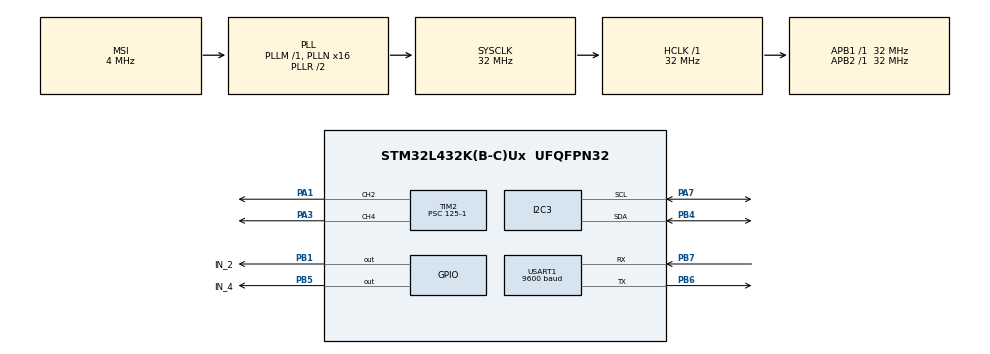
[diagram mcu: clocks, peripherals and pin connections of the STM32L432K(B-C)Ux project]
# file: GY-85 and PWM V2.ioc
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I2C3.Timing=0x00707CBB
Mcu.Family=STM32L4
Mcu.Name=STM32L432K(B-C)Ux
Mcu.Package=UFQFPN32
NVIC.PriorityGroup=NVIC_PRIORITYGROUP_4
NVIC.TIM2_IRQn=true\:0\:0\:false\:false\:true\:true\:true
NVIC.USART1_IRQn=true\:0\:0\:false\:false\:true\:true\:true
PA1.Signal=S_TIM2_CH2
PA13\ (JTMS-SWDIO).Mode=Serial_Wire
PA13\ (JTMS-SWDIO).Signal=SYS_JTMS-SWDIO
PA14\ (JTCK-SWCLK).Mode=Serial_Wire
PA14\ (JTCK-SWCLK).Signal=SYS_JTCK-SWCLK
PA3.Signal=S_TIM2_CH4
PA7.Mode=I2C
PA7.Signal=I2C3_SCL
PB1.GPIO_Label=IN_2
PB1.Signal=GPIO_Output
PB4\ (NJTRST).Mode=I2C
PB4\ (NJTRST).Signal=I2C3_SDA
PB5.GPIO_Label=IN_4
PB5.Signal=GPIO_Output
PB6.Mode=Asynchronous
PB6.Signal=USART1_TX
PB7.Mode=Asynchronous
PB7.Signal=USART1_RX
PC14-OSC32_IN\ (PC14).Mode=LSE-External-Oscillator
PC14-OSC32_IN\ (PC14).Signal=RCC_OSC32_IN
PC15-OSC32_OUT\ (PC15).Mode=LSE-External-Oscillator
PC15-OSC32_OUT\ (PC15).Signal=RCC_OSC32_OUT
ProjectManager.HeapSize=0x200
ProjectManager.StackSize=0x400
ProjectManager.TargetToolchain=EWARM V8
RCC.AHBFreq_Value=32000000
RCC.APB1Freq_Value=32000000
RCC.APB1TimFreq_Value=32000000
RCC.APB2Freq_Value=32000000
RCC.APB2TimFreq_Value=32000000
RCC.CortexFreq_Value=32000000
RCC.HCLKFreq_Value=32000000
RCC.HSE_VALUE=8000000
RCC.HSI16_VALUE=16000000
RCC.HSI48_VALUE=48000000
RCC.HSI_VALUE=16000000
RCC.MSI_VALUE=4000000
RCC.PLLMUL=RCC_PLLMUL_4
RCC.PLLN=16
RCC.SYSCLKFreq_VALUE=32000000
RCC.SYSCLKSource=RCC_SYSCLKSOURCE_PLLCLK
RCC.VCOOutputFreq_Value=64000000
SH.S_TIM2_CH2.0=TIM2_CH2,PWM Generation2 CH2
SH.S_TIM2_CH4.0=TIM2_CH4,PWM Generation4 CH4
TIM2.Channel-PWM\ Generation2\ CH2=TIM_CHANNEL_2
TIM2.Channel-PWM\ Generation4\ CH4=TIM_CHANNEL_4
TIM2.Period=255
TIM2.Prescaler=125-1
USART1.BaudRate=9600
USART1.VirtualMode-Asynchronous=VM_ASYNC
VP_TIM2_VS_ClockSourceINT.Mode=Internal
board=NUCLEO-L432KC

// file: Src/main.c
/* USER CODE BEGIN Header */
/**
 ******************************************************************************
 * @file           : main.c
 * @brief          : Main program body
 ******************************************************************************
 * @attention
 *
 * <h2><center>&copy; Copyright (c) 2019 STMicroelectronics.
 * All rights reserved.</center></h2>
 *
 * This software component is licensed by ST under BSD 3-Clause license,
 * the "License"; You may not use this file except in compliance with the
 * License. You may obtain a copy of the License at:
 *                        opensource.org/licenses/BSD-3-Clause
 *
 ******************************************************************************
 */
/* USER CODE END Header */

#include "main.h"

/* USER CODE BEGIN Includes */
#include "ITG3205.h"
#include <QMC5883L.h>
#include "calculation.h"
#include <stdio.h>
/* USER CODE END Includes */

I2C_HandleTypeDef hi2c3;

TIM_HandleTypeDef htim2;

UART_HandleTypeDef huart1;

/* USER CODE BEGIN PV */
/*??????????????? ?????????? ****************************************************************************** */
float calibDataGyro[3]; /*?????? ??????????????? ?????? ?????????: ??????? ???????? ? ????/???*/ /*?????? ????? ?????? ????????? */
float calibDataMagnet[3]; /*?????? ??????????????? ?????? ????????????: ????????? ???????? ? ????? ????? */
char transmitMagnet[150]; /*?????? ?????? ???????????? ?? ???????? ?? UART*/
float currentAngle;		 /*??????? ????*/
int pinStatus = 0;		 /*?????? ???????? ????? ??? ??? */
int pinStatusX = 2, pinStatusY = 2; /*?????? ???????? ????? ??? ??? */
int uartCount = 0;
//float koeff = 321037;	/*??????????? ??????? ??????? ????????, ????? ?????????? ????????*/
//const float _koeff = 10000;
float gyroCalibZ = 0;
float voltageX = 0, voltageY = 0;
float magnetMedianX = 0;
float magnetMedianY = 0;
float magnetMedianZ = 0;

uint8_t PWM_PA3 = 240; /*?????????? ?? ????????? ??? ?? PA3 */
uint8_t PWM_PA1 = 240; /*?????????? ?? ????????? ??? ?? PA1 */
/* USER CODE END PV */

void SystemClock_Config(void);
static void MX_GPIO_Init(void);
static void MX_TIM2_Init(void);
static void MX_I2C3_Init(void);
static void MX_USART1_UART_Init(void);

int main(void) {

	/* MCU Configuration--------------------------------------------------------*/

	/* Reset of all peripherals, Initializes the Flash interface and the Systick. */
	HAL_Init();

	/* Configure the system clock */
	SystemClock_Config();

	/* Initialize all configured peripherals */
	MX_GPIO_Init();
	MX_TIM2_Init();
	MX_I2C3_Init();
	MX_USART1_UART_Init();
	I2Cdev_init(&hi2c3);
        HAL_Delay(3000);
	QMC5883L_init();
	initGyro();
	/* USER CODE BEGIN 2 */
	/*???????? ??? **********************************************************************************************/
	HAL_TIM_PWM_Start(&htim2, TIM_CHANNEL_2);
	HAL_TIM_PWM_Start(&htim2, TIM_CHANNEL_4);
	HAL_GPIO_WritePin(GPIOB, IN_4_Pin | IN_2_Pin, GPIO_PIN_RESET);
	/* USER CODE END 2 */
	/*???????? ??????????????? ?????? ? ????????? ? ?????????? ???????? ??????? ???????? ? ??????????????? ??????*/
	getGyroscopeData(calibDataGyro);
	/*???????? ??????????????? ?????? ? ???????????? ? ?????????? ???????? ???? ? µT ? ??????????????? ?????? * */
	QMC5883L_read(calibDataMagnet);
	/*???????????? "???????" ???? ???????? ************************************************************************/
	currentAngle = ((atan2(-calibDataMagnet[1], calibDataMagnet[0])) * 180) / PI;
	/* Infinite loop */
	/* USER CODE BEGIN WHILE */
	while (1) {
		float testMagnet[3] = {-0.0005, 0.0, 0.0};
		float testGyro = 20.0;
		float testAngle = 0;
		getVoltage(gyroCalibZ * PI / 180, calibDataMagnet, currentAngle*PI/180, &voltageX, &voltageY);
		//TEST
                //getVoltage(testGyro * PI / 180, testMagnet, testAngle, &voltageX, &voltageY);
		scaleVoltage(&voltageX, &voltageY);

		getPWM(voltageX, &pinStatusX, &PWM_PA1);
		// PWM_PA1 = m_axis(_koeff, gyroCalibZ * PI / 180, -calibDataMagnet[1] / 1000000, &pinStatusX); // Axis X  ORIG
		if (pinStatusX == 0) {
			HAL_GPIO_WritePin(GPIOB, IN_4_Pin, GPIO_PIN_RESET);
		} else {
			HAL_GPIO_WritePin(GPIOB, IN_4_Pin, GPIO_PIN_SET);
		}
		htim2.Instance->CCR2 = PWM_PA1;

		getPWM(voltageY, &pinStatusY, &PWM_PA3);
		if (pinStatusY == 0) {
			HAL_GPIO_WritePin(GPIOB, IN_2_Pin, GPIO_PIN_RESET);
		} else {
			HAL_GPIO_WritePin(GPIOB, IN_2_Pin, GPIO_PIN_SET);
		}
		htim2.Instance->CCR4 = PWM_PA3;
                //********************************************************************
                //UART telemetry sending code
                uartCount++;
		if (uartCount > 4) {
			//sprintf(transmitMagnet, "GG m_X = %0.2f   m_Y = %0.2f  angle = %0.2f speed = %0.2f\r\n", calibDataMagnet[0]*1000000 , calibDataMagnet[1]*1000000, currentAngle, gyroCalibZ * PI / 180.0);
			sprintf(transmitMagnet, "Gu dirX = %i  dirY = %i PA1 = %d  PA3 = %d  m_X = %0.2f   m_Y = %0.2f  speed = %0.2f angle = %0.2f \r\n", pinStatusX, pinStatusY, PWM_PA1, PWM_PA3, calibDataMagnet[0] * 1000000, calibDataMagnet[1] * 1000000, gyroCalibZ * PI / 180.0, currentAngle);
                        HAL_UART_Transmit_IT(&huart1, transmitMagnet, 150);
			uartCount = 0;
                        HAL_Delay(10);
		}

		/*?????????? ??????? ************************************************** */
		HAL_Delay(100);
		PWM_PA1 = 0;
		PWM_PA3 = 0;
		htim2.Instance->CCR4 = PWM_PA1;
		htim2.Instance->CCR2 = PWM_PA3;
                HAL_GPIO_WritePin(GPIOB, IN_2_Pin, GPIO_PIN_RESET);
                HAL_GPIO_WritePin(GPIOB, IN_4_Pin, GPIO_PIN_RESET);
                HAL_Delay(30);
		/*???????????? "???????" ???? ???????? ************************************************************************/
		//Magnetometer averaging
                magnetMedianX = 0;
                magnetMedianY = 0;
                magnetMedianZ = 0;
                for (int i = 0; i < 3; i++) {
			QMC5883L_read(calibDataMagnet);
			magnetMedianY += calibDataMagnet[0];
                        magnetMedianX += calibDataMagnet[1];
                        magnetMedianZ += calibDataMagnet[2];
		}
                calibDataMagnet[0] = (magnetMedianY / 3.0)*1e-6;
		calibDataMagnet[1] = (magnetMedianX / 3.0)*1e-6;
		calibDataMagnet[2] = (magnetMedianY / 3.0)*1e-6;
                //**************************************************
                //Gyro averaging
                gyroCalibZ = 0.0;
                for (int i = 0; i < 3; i++) {
			getGyroscopeData(calibDataGyro);
			gyroCalibZ += calibDataGyro[2];
		}
		gyroCalibZ /= 3;
                if (gyroCalibZ > 6){
             //     resetGyroscope();
               //   initGyro();
                }
                currentAngle = ((atan2(-calibDataMagnet[1], calibDataMagnet[0])) * 180) / PI;
	}
	/* USER CODE END 3 */
}

void SystemClock_Config(void) {
	RCC_OscInitTypeDef RCC_OscInitStruct = {0};
	RCC_ClkInitTypeDef RCC_ClkInitStruct = {0};
	RCC_PeriphCLKInitTypeDef PeriphClkInit = {0};

	/** Configure LSE Drive Capability
	 */
	HAL_PWR_EnableBkUpAccess();
	__HAL_RCC_LSEDRIVE_CONFIG(RCC_LSEDRIVE_LOW);
	/** Initializes the CPU, AHB and APB busses clocks
	 */
	RCC_OscInitStruct.OscillatorType = RCC_OSCILLATORTYPE_LSE | RCC_OSCILLATORTYPE_MSI;
	RCC_OscInitStruct.LSEState = RCC_LSE_ON;
	RCC_OscInitStruct.MSIState = RCC_MSI_ON;
	RCC_OscInitStruct.MSICalibrationValue = 0;
	RCC_OscInitStruct.MSIClockRange = RCC_MSIRANGE_6;
	RCC_OscInitStruct.PLL.PLLState = RCC_PLL_ON;
	RCC_OscInitStruct.PLL.PLLSource = RCC_PLLSOURCE_MSI;
	RCC_OscInitStruct.PLL.PLLM = 1;
	RCC_OscInitStruct.PLL.PLLN = 16;
	RCC_OscInitStruct.PLL.PLLP = RCC_PLLP_DIV7;
	RCC_OscInitStruct.PLL.PLLQ = RCC_PLLQ_DIV2;
	RCC_OscInitStruct.PLL.PLLR = RCC_PLLR_DIV2;
	if (HAL_RCC_OscConfig(&RCC_OscInitStruct) != HAL_OK) {
		Error_Handler();
	}
	/** Initializes the CPU, AHB and APB busses clocks
	 */
	RCC_ClkInitStruct.ClockType = RCC_CLOCKTYPE_HCLK | RCC_CLOCKTYPE_SYSCLK | RCC_CLOCKTYPE_PCLK1 | RCC_CLOCKTYPE_PCLK2;
	RCC_ClkInitStruct.SYSCLKSource = RCC_SYSCLKSOURCE_PLLCLK;
	RCC_ClkInitStruct.AHBCLKDivider = RCC_SYSCLK_DIV1;
	RCC_ClkInitStruct.APB1CLKDivider = RCC_HCLK_DIV1;
	RCC_ClkInitStruct.APB2CLKDivider = RCC_HCLK_DIV1;

	if (HAL_RCC_ClockConfig(&RCC_ClkInitStruct, FLASH_LATENCY_1) != HAL_OK) {
		Error_Handler();
	}
	PeriphClkInit.PeriphClockSelection = RCC_PERIPHCLK_USART1 | RCC_PERIPHCLK_I2C3;
	PeriphClkInit.Usart1ClockSelection = RCC_USART1CLKSOURCE_PCLK2;
	PeriphClkInit.I2c3ClockSelection = RCC_I2C3CLKSOURCE_PCLK1;
	if (HAL_RCCEx_PeriphCLKConfig(&PeriphClkInit) != HAL_OK) {
		Error_Handler();
	}
	/** Configure the main internal regulator output voltage
	 */
	if (HAL_PWREx_ControlVoltageScaling(PWR_REGULATOR_VOLTAGE_SCALE1) != HAL_OK) {
		Error_Handler();
	}
	/** Enable MSI Auto calibration
	 */
	HAL_RCCEx_EnableMSIPLLMode();
}

static void MX_I2C3_Init(void) {

	hi2c3.Instance = I2C3;
	hi2c3.Init.Timing = 0x00707CBB;
	hi2c3.Init.OwnAddress1 = 0;
	hi2c3.Init.AddressingMode = I2C_ADDRESSINGMODE_7BIT;
	hi2c3.Init.DualAddressMode = I2C_DUALADDRESS_DISABLE;
	hi2c3.Init.OwnAddress2 = 0;
	hi2c3.Init.OwnAddress2Masks = I2C_OA2_NOMASK;
	hi2c3.Init.GeneralCallMode = I2C_GENERALCALL_DISABLE;
	hi2c3.Init.NoStretchMode = I2C_NOSTRETCH_DISABLE;
	if (HAL_I2C_Init(&hi2c3) != HAL_OK) {
		Error_Handler();
	}
	/** Configure Analogue filter
	 */
	if (HAL_I2CEx_ConfigAnalogFilter(&hi2c3, I2C_ANALOGFILTER_ENABLE) != HAL_OK) {
		Error_Handler();
	}
	/** Configure Digital filter
	 */
	if (HAL_I2CEx_ConfigDigitalFilter(&hi2c3, 0) != HAL_OK) {
		Error_Handler();
	}
}

static void MX_TIM2_Init(void) {

	TIM_ClockConfigTypeDef sClockSourceConfig = {0};
	TIM_MasterConfigTypeDef sMasterConfig = {0};
	TIM_OC_InitTypeDef sConfigOC = {0};

	htim2.Instance = TIM2;
	htim2.Init.Prescaler = 125 - 1;
	htim2.Init.CounterMode = TIM_COUNTERMODE_UP;
	htim2.Init.Period = 255;
	htim2.Init.ClockDivision = TIM_CLOCKDIVISION_DIV1;
	htim2.Init.AutoReloadPreload = TIM_AUTORELOAD_PRELOAD_DISABLE;
	if (HAL_TIM_Base_Init(&htim2) != HAL_OK) {
		Error_Handler();
	}
	sClockSourceConfig.ClockSource = TIM_CLOCKSOURCE_INTERNAL;
	if (HAL_TIM_ConfigClockSource(&htim2, &sClockSourceConfig) != HAL_OK) {
		Error_Handler();
	}
	if (HAL_TIM_PWM_Init(&htim2) != HAL_OK) {
		Error_Handler();
	}
	sMasterConfig.MasterOutputTrigger = TIM_TRGO_RESET;
	sMasterConfig.MasterSlaveMode = TIM_MASTERSLAVEMODE_DISABLE;
	if (HAL_TIMEx_MasterConfigSynchronization(&htim2, &sMasterConfig) != HAL_OK) {
		Error_Handler();
	}
	sConfigOC.OCMode = TIM_OCMODE_PWM1;
	sConfigOC.Pulse = 0;
	sConfigOC.OCPolarity = TIM_OCPOLARITY_HIGH;
	sConfigOC.OCFastMode = TIM_OCFAST_DISABLE;
	if (HAL_TIM_PWM_ConfigChannel(&htim2, &sConfigOC, TIM_CHANNEL_2) != HAL_OK) {
		Error_Handler();
	}
	if (HAL_TIM_PWM_ConfigChannel(&htim2, &sConfigOC, TIM_CHANNEL_4) != HAL_OK) {
		Error_Handler();
	}
	HAL_TIM_MspPostInit(&htim2);
}

static void MX_USART1_UART_Init(void) {

	huart1.Instance = USART1;
	huart1.Init.BaudRate = 9600;
	huart1.Init.WordLength = UART_WORDLENGTH_8B;
	huart1.Init.StopBits = UART_STOPBITS_1;
	huart1.Init.Parity = UART_PARITY_NONE;
	huart1.Init.Mode = UART_MODE_TX_RX;
	huart1.Init.HwFlowCtl = UART_HWCONTROL_NONE;
	huart1.Init.OverSampling = UART_OVERSAMPLING_16;
	huart1.Init.OneBitSampling = UART_ONE_BIT_SAMPLE_DISABLE;
	huart1.AdvancedInit.AdvFeatureInit = UART_ADVFEATURE_NO_INIT;
	if (HAL_UART_Init(&huart1) != HAL_OK) {
		Error_Handler();
	}
}

static void MX_GPIO_Init(void) {
	GPIO_InitTypeDef GPIO_InitStruct = {0};

	/* GPIO Ports Clock Enable */
	__HAL_RCC_GPIOC_CLK_ENABLE();
	__HAL_RCC_GPIOA_CLK_ENABLE();
	__HAL_RCC_GPIOB_CLK_ENABLE();

	/*Configure GPIO pin Output Level */
	HAL_GPIO_WritePin(GPIOB, IN_2_Pin | IN_4_Pin, GPIO_PIN_RESET);

	/*Configure GPIO pins : IN_2_Pin IN_4_Pin */
	GPIO_InitStruct.Pin = IN_2_Pin | IN_4_Pin;
	GPIO_InitStruct.Mode = GPIO_MODE_OUTPUT_PP;
	GPIO_InitStruct.Pull = GPIO_NOPULL;
	GPIO_InitStruct.Speed = GPIO_SPEED_FREQ_LOW;
	HAL_GPIO_Init(GPIOB, &GPIO_InitStruct);
}

void Error_Handler(void) {
}

/************************ (C) COPYRIGHT STMicroelectronics *****END OF FILE****/
